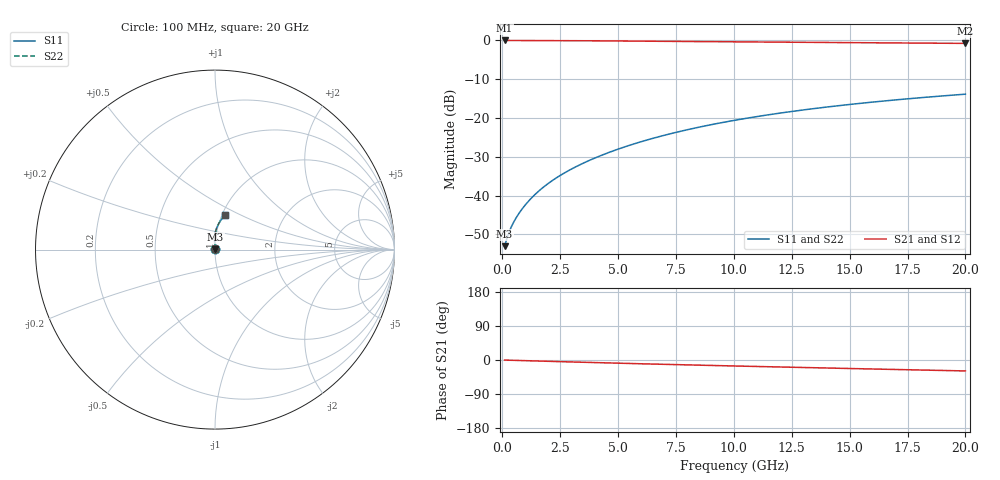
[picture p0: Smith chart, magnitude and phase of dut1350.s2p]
! Touchstone file exported from HFSS 2024.1.0
!  File:  C:/UserFiles/LocalFiles/RDL_TSV_Batchsim/temp_RDL_top_1350_1780366197.aedt
!  Generated:  10:11:49 AM Jun  2, 2026
!  Design:  RDL_top
!  Project:  temp_RDL_top_1350_1780366197
!  Setup:  Setup1
!  Solution:  Sweep
! Variables:
!  dtsv = 10.80580581um
!  hbump = 3um
!  htsv = 78.93um
!  ldown = 100um
!  lrdl = 461.29um
!  p = 40
!  p1 = 41.4um
!  rhole = 1um
!  t = 450um
!  tdown = 3.915915916um
!  trdl = 3.46um
!  wdown = 15.38538539um
!  wrdl = 26.78um
# GHz S MA R 50.000000
! Terminal data exported
! Port[1] = Box2_T1
! Port[2] = Box2_T2
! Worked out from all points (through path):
!   200 points, 100 MHz to 20 GHz, reference 50 ohm
!   highest |S21| = -0.02 dB at 100 MHz (marker M1); lowest = -0.8 dB at 20 GHz (marker M2)
!   group delay of S21, straight-line fit = 3.95 ps
!   lowest |S11| = -53.0 dB at 100 MHz (marker M3), VSWR 1.00, Z = 50.2 + j0.0942 ohm
!   |S11| at or under -10 dB: start of sweep to end of sweep
!   |S22| runs from -53.0 to -13.9 dB; largest |S21 - S12| = 4.4e-15
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0.1  0.002234 24.8  0.998 -0.2  0.998 -0.2  0.002234 24.8
! Gamma 0 0 0 0
! Port Impedance 50 0 50 0
0.2  0.002814 39.1  0.9978 -0.4  0.9978 -0.4  0.002814 39.1
0.3  0.00343 47.2  0.9976 -0.6  0.9976 -0.6  0.00343 47.2
0.4  0.004025 52.7  0.9974 -0.7  0.9974 -0.7  0.004025 52.7
0.5  0.004608 57.1  0.9972 -0.9  0.9972 -0.9  0.004608 57.1
0.8  0.00639 66.7  0.9968 -1.4  0.9968 -1.4  0.00639 66.7
1  0.007638 71.1  0.9965 -1.8  0.9965 -1.8  0.007637 71.1
1.2  0.00893 74.6  0.9962 -2.1  0.9962 -2.1  0.00893 74.6
1.7  0.01233 80.6  0.9952 -3.0  0.9952 -3.0  0.01233 80.6
2.2  0.01593 84.5  0.994 -3.8  0.994 -3.8  0.01594 84.5
2.8  0.02052 87.6  0.9921 -4.8  0.9921 -4.8  0.02052 87.6
3.5  0.02623 90.0  0.9895 -6.0  0.9895 -6.0  0.02623 90.0
4.2  0.03232 91.5  0.9866 -7.2  0.9866 -7.2  0.03233 91.5
5  0.03973 92.4  0.983 -8.4  0.983 -8.4  0.03974 92.4
5.9  0.04857 92.8  0.9786 -9.8  0.9786 -9.8  0.04858 92.8
6.8  0.05785 92.5  0.9741 -11.2  0.9741 -11.2  0.05787 92.6
8.4  0.07516 91.2  0.966 -13.5  0.966 -13.5  0.07519 91.2
10.1  0.09422 89.0  0.9576 -15.9  0.9576 -15.9  0.09426 89.1
11.7  0.1124 86.6  0.95 -18.1  0.95 -18.1  0.1124 86.7
13.4  0.1316 83.9  0.9424 -20.4  0.9424 -20.4  0.1317 83.9
16.7  0.1681 78.5  0.9284 -24.7  0.9284 -24.7  0.1682 78.5
20  0.2028 73.2  0.9151 -28.9  0.9151 -28.9  0.2029 73.3
